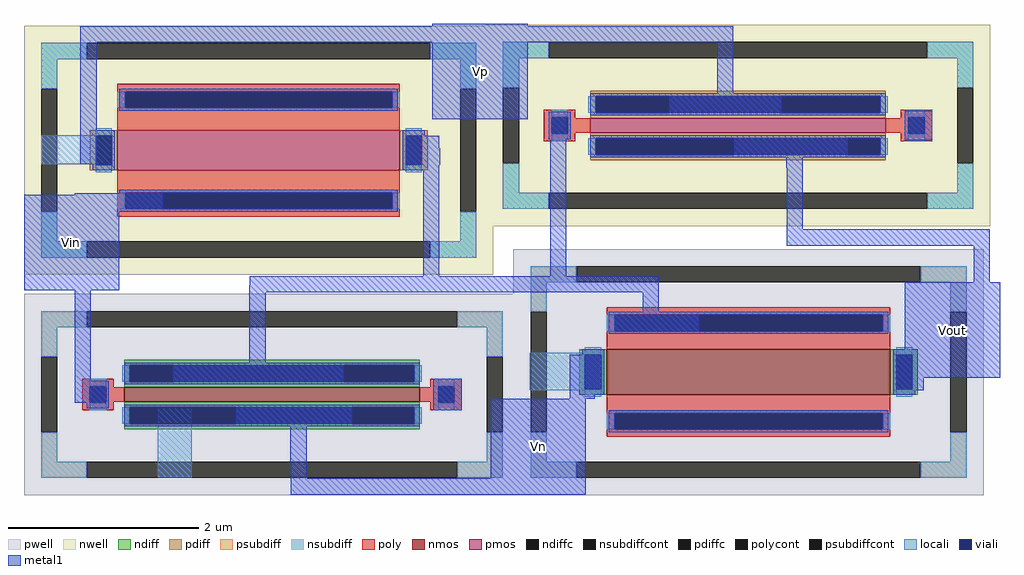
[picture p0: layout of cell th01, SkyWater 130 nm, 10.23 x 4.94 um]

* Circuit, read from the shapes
.subckt th01 Vp Vin Vout Vn
XM1 n1 Vin Vn Vn sky130_fd_pr__nfet_01v8 w=3.1 l=0.15
XM2 Vout n1 Vn Vn sky130_fd_pr__nfet_01v8 w=0.48 l=2.97
XM3 n1 Vin Vp Vp sky130_fd_pr__pfet_01v8 w=0.42 l=2.96
XM4 Vp n1 Vout Vp sky130_fd_pr__pfet_01v8 w=3.1 l=0.15
.ends

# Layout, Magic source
magic
tech sky130A
magscale 1 2
<< pwell >>
rect 1476 -990 1536 -924
rect 1762 -958 1830 -874
rect 1762 -966 1814 -958
rect 1176 -1038 1210 -1004
<< locali >>
rect 654 -474 802 -414
rect 1678 -948 1828 -870
rect 898 -1130 970 -984
<< metal1 >>
rect 1474 -185 1674 -180
rect 736 -219 2105 -185
rect 736 -474 770 -219
rect 1474 -380 1674 -219
rect 2071 -331 2105 -219
rect 1971 -365 2205 -331
rect 1417 -441 1489 -415
rect 1417 -475 1491 -441
rect 724 -538 909 -535
rect 618 -569 909 -538
rect 618 -738 818 -569
rect 1455 -709 1489 -475
rect 1721 -709 1755 -371
rect 2107 -453 2345 -419
rect 2464 -424 2522 -362
rect 2216 -482 2251 -453
rect 2217 -611 2251 -482
rect 2217 -645 2643 -611
rect 1091 -728 1949 -709
rect 2609 -722 2643 -645
rect 724 -939 758 -738
rect 1090 -743 1949 -728
rect 1090 -895 1125 -743
rect 1915 -789 1949 -743
rect 1857 -823 2033 -789
rect 2464 -872 2664 -722
rect 931 -929 1287 -895
rect 1090 -930 1124 -929
rect 724 -973 791 -939
rect 724 -974 758 -973
rect 1063 -1017 1305 -983
rect 1476 -990 1536 -924
rect 1762 -958 1830 -874
rect 2446 -922 2664 -872
rect 2446 -948 2504 -922
rect 1762 -966 1814 -958
rect 1176 -1097 1211 -1017
rect 1177 -1133 1211 -1097
rect 1596 -1133 1796 -966
rect 1177 -1166 1796 -1133
rect 1177 -1167 1795 -1166
use sky130_fd_pr__pfet_01v8_3QB9EZ  XM2
transform 1 0 1110 0 1 -445
box -492 -261 492 261
use sky130_fd_pr__nfet_01v8_J2SMPG  XM3
transform 0 -1 1138 1 0 -957
box -211 -520 211 520
use sky130_fd_pr__nfet_01v8_G45C34  XM4
transform -1 0 2137 0 -1 -910
box -493 -258 493 258
use sky130_fd_pr__pfet_01v8_XA2NHL  XM5
transform 0 -1 2115 1 0 -393
box -211 -529 211 529
<< labels >>
flabel metal1 618 -738 818 -538 0 FreeSans 256 0 0 0 Vin
port 1 nsew
flabel metal1 2464 -922 2664 -722 0 FreeSans 256 0 0 0 Vout
port 2 nsew
flabel metal1 1596 -1166 1796 -966 0 FreeSans 256 0 0 0 Vn
port 3 nsew
flabel metal1 1474 -380 1674 -180 0 FreeSans 256 0 0 0 Vp
port 0 nsew
<< end >>

# cell sky130_fd_pr__pfet_01v8_3QB9EZ: kit device sky130_fd_pr__pfet_01v8, w 0.42 l 2.96 m 1 nf 1 diffcov 100 polycov 100 guard 1 glc 1 grc 1 gtc 1 gbc 1 tbcov 100 rlcov 100 topc 1 botc 1 poverlap 0 doverlap 1 lmin 0.15 wmin 0.42 compatible {sky130_fd_pr__pfet_01v8 sky130_fd_pr__pfet_01v8_lvt sky130_fd_pr__pfet_01v8_hvt sky130_fd_pr__pfet_g5v0d10v5} full_metal 1 viasrc 100 viadrn 100 viagate 100 viagb 0 viagr 0 viagl 0 viagt 0

# cell sky130_fd_pr__nfet_01v8_J2SMPG: kit device sky130_fd_pr__nfet_01v8, w 3.1 l 0.15 m 1 nf 1 diffcov 100 polycov 100 guard 1 glc 1 grc 1 gtc 1 gbc 1 tbcov 100 rlcov 100 topc 1 botc 1 poverlap 0 doverlap 1 lmin 0.15 wmin 0.42 compatible {sky130_fd_pr__nfet_01v8 sky130_fd_pr__nfet_01v8_lvt sky130_fd_bs_flash__special_sonosfet_star sky130_fd_pr__nfet_g5v0d10v5 sky130_fd_pr__nfet_05v0_nvt sky130_fd_pr__nfet_03v3_nvt} full_metal 1 viasrc 100 viadrn 100 viagate 100 viagb 0 viagr 0 viagl 0 viagt 0

# cell sky130_fd_pr__nfet_01v8_G45C34: kit device sky130_fd_pr__nfet_01v8, w 0.48 l 2.97 m 1 nf 1 diffcov 100 polycov 100 guard 1 glc 1 grc 1 gtc 1 gbc 1 tbcov 100 rlcov 100 topc 1 botc 1 poverlap 0 doverlap 1 lmin 0.15 wmin 0.42 compatible {sky130_fd_pr__nfet_01v8 sky130_fd_pr__nfet_01v8_lvt sky130_fd_bs_flash__special_sonosfet_star sky130_fd_pr__nfet_g5v0d10v5 sky130_fd_pr__nfet_05v0_nvt sky130_fd_pr__nfet_03v3_nvt} full_metal 1 viasrc 100 viadrn 100 viagate 100 viagb 0 viagr 0 viagl 0 viagt 0

# cell sky130_fd_pr__pfet_01v8_XA2NHL: kit device sky130_fd_pr__pfet_01v8, w 3.1 l 0.15 m 1 nf 1 diffcov 100 polycov 100 guard 1 glc 1 grc 1 gtc 1 gbc 1 tbcov 100 rlcov 100 topc 1 botc 1 poverlap 0 doverlap 1 lmin 0.15 wmin 0.42 compatible {sky130_fd_pr__pfet_01v8 sky130_fd_pr__pfet_01v8_lvt sky130_fd_pr__pfet_01v8_hvt sky130_fd_pr__pfet_g5v0d10v5} full_metal 1 viasrc 100 viadrn 100 viagate 100 viagb 0 viagr 0 viagl 0 viagt 0
